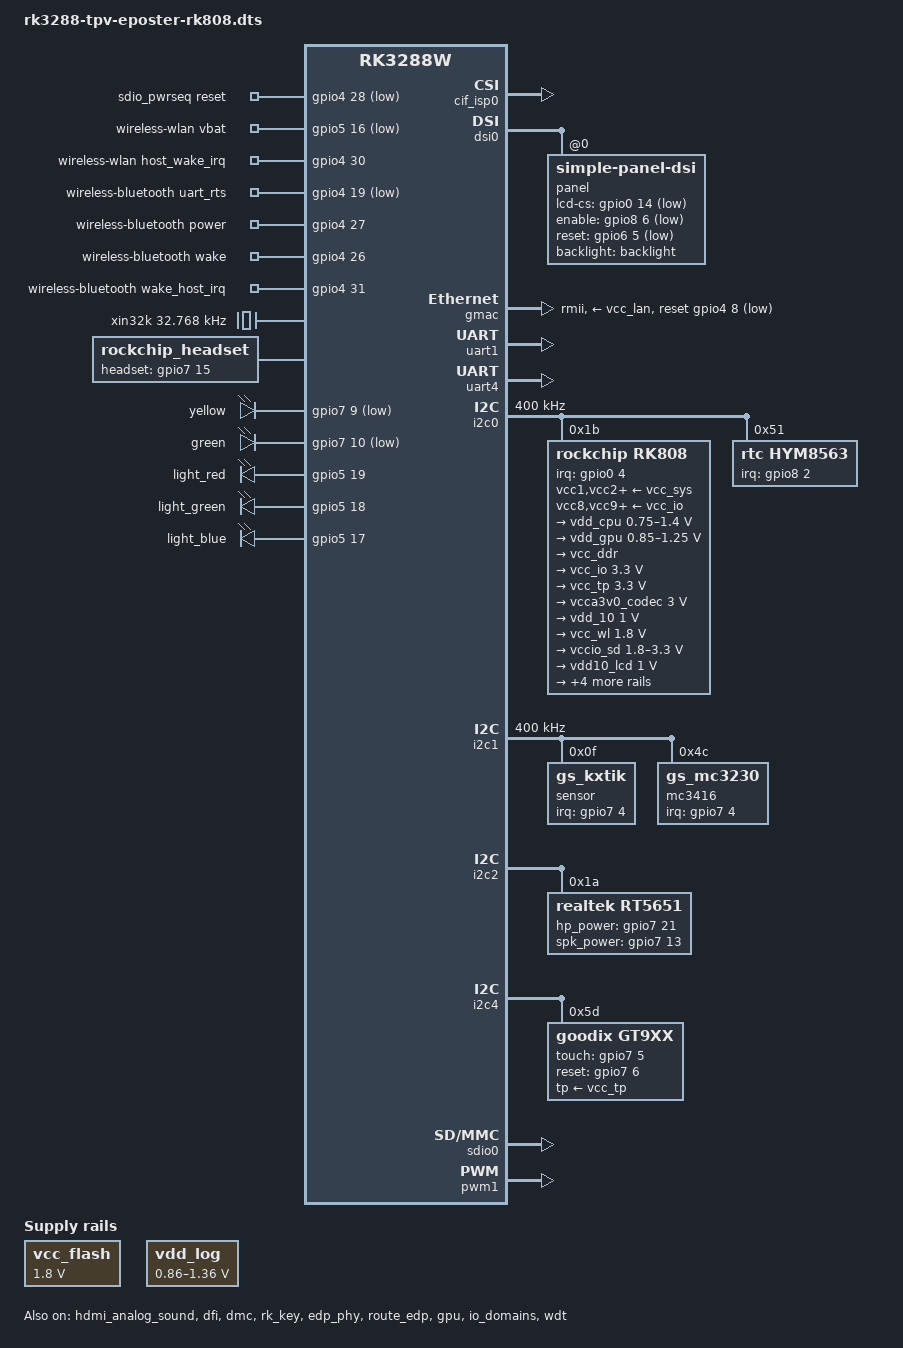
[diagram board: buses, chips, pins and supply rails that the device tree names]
/*
 * This file is dual-licensed: you can use it either under the terms
 * of the GPL or the X11 license, at your option. Note that this dual
 * licensing only applies to this file, and not this project as a
 * whole.
 *
 *  a) This file is free software; you can redistribute it and/or
 *     modify it under the terms of the GNU General Public License as
 *     published by the Free Software Foundation; either version 2 of the
 *     License, or (at your option) any later version.
 *
 *     This file is distributed in the hope that it will be useful,
 *     but WITHOUT ANY WARRANTY; without even the implied warranty of
 *     MERCHANTABILITY or FITNESS FOR A PARTICULAR PURPOSE.  See the
 *     GNU General Public License for more details.
 *
 * Or, alternatively,
 *
 *  b) Permission is hereby granted, free of charge, to any person
 *     obtaining a copy of this software and associated documentation
 *     files (the "Software"), to deal in the Software without
 *     restriction, including without limitation the rights to use,
 *     copy, modify, merge, publish, distribute, sublicense, and/or
 *     sell copies of the Software, and to permit persons to whom the
 *     Software is furnished to do so, subject to the following
 *     conditions:
 *
 *     The above copyright notice and this permission notice shall be
 *     included in all copies or substantial portions of the Software.
 *
 *     THE SOFTWARE IS PROVIDED "AS IS", WITHOUT WARRANTY OF ANY KIND,
 *     EXPRESS OR IMPLIED, INCLUDING BUT NOT LIMITED TO THE WARRANTIES
 *     OF MERCHANTABILITY, FITNESS FOR A PARTICULAR PURPOSE AND
 *     NONINFRINGEMENT. IN NO EVENT SHALL THE AUTHORS OR COPYRIGHT
 *     HOLDERS BE LIABLE FOR ANY CLAIM, DAMAGES OR OTHER LIABILITY,
 *     WHETHER IN AN ACTION OF CONTRACT, TORT OR OTHERWISE, ARISING
 *     FROM, OUT OF OR IN CONNECTION WITH THE SOFTWARE OR THE USE OR
 *     OTHER DEALINGS IN THE SOFTWARE.
 */

/dts-v1/;
#include "rk3288-evb.dtsi"
#include "rk3288-android.dtsi"
#include <dt-bindings/sensor-dev.h>

/ {
	compatible = "rockchip,rk3288-tpv-eposter-rk808", "rockchip,rk3288w";

	sdio_pwrseq: sdio-pwrseq {
		status = "okay";
		compatible = "mmc-pwrseq-simple";
		clocks = <&rk808 1>;
		clock-names = "ext_clock";
		pinctrl-names = "default";
		pinctrl-0 = <&wifi_enable_h>;

		/*
		 * On the module itself this is one of these (depending
		 * on the actual card populated):
		 * - SDIO_RESET_L_WL_REG_ON
		 * - PDN (power down when low)
		 */
		reset-gpios = <&gpio4 28 GPIO_ACTIVE_LOW>;
	};

	vcc_flash: vcc-flash {
		compatible = "regulator-fixed";
		regulator-name = "vcc_flash";
		regulator-always-on;
		regulator-boot-on;
		regulator-min-microvolt = <1800000>;
		regulator-max-microvolt = <1800000>;
	};

	/*
	vcc_wifi: vcc-wifi-regulator {
		compatible = "regulator-fixed";
		//enable-active-high;
		gpio = <&gpio5 16 GPIO_ACTIVE_LOW>;
		pinctrl-names = "default";
		pinctrl-0 = <&wl_en>;
		regulator-name = "vcc_wifi";
		regulator-min-microvolt = <3300000>;
		regulator-max-microvolt = <3300000>;
		regulator-always-on;
		regulator-boot-on;
	};
	*/
	wireless-wlan {
		compatible = "wlan-platdata";
		rockchip,grf = <&grf>;
		wifi_chip_type = "ap6256";
		sdio_vref =<1800>;
		WIFI,vbat_gpio = <&gpio5 16 GPIO_ACTIVE_LOW>; 
		WIFI,host_wake_irq = <&gpio4 30 GPIO_ACTIVE_HIGH>;
		status = "okay";
	};

	wireless-bluetooth {
		compatible = "bluetooth-platdata";
		clocks = <&rk808 1>;
		clock-names = "ext_clock";
		/* wifi-bt-power-toggle; */
		uart_rts_gpios = <&gpio4 19 GPIO_ACTIVE_LOW>;
		pinctrl-names = "default", "rts_gpio";
		pinctrl-0 = <&uart0_rts>,<&bt_wake>;
		pinctrl-1 = <&uart0_gpios>;
		BT,power_gpio  = <&gpio4 27 GPIO_ACTIVE_HIGH>; 
		//BT,reset_gpio    = <&gpio3 5 GPIO_ACTIVE_HIGH>;
		BT,wake_gpio     = <&gpio4 26 GPIO_ACTIVE_HIGH>;
		BT,wake_host_irq = <&gpio4 31 GPIO_ACTIVE_HIGH>;
		status = "okay";
	};


	/delete-node/ sdmmc-regulator;

	vdd_log: vdd-logic {
		compatible = "pwm-regulator";
		rockchip,pwm_id = <1>;
		rockchip,pwm_voltage = <1100000>;
		pwms = <&pwm1 0 25000 1>;
		regulator-name = "vcc_log";
		regulator-min-microvolt = <860000>;
		regulator-max-microvolt = <1360000>;
		regulator-always-on;
		regulator-boot-on;
	};

	xin32k: xin32k {
		compatible = "fixed-clock";
		clock-frequency = <32768>;
		clock-output-names = "xin32k";
		#clock-cells = <0>;
	};

	rockchip_headset {
		status = "okay";
		compatible = "rockchip_headset";
		headset_gpio = <&gpio7 15 GPIO_ACTIVE_HIGH>;
		//io-channels = <&saradc 2>;
		pinctrl-names = "default";
		pinctrl-0 = <&headset_det>;
	};

	gpio-leds {
		compatible = "gpio-leds";
		pinctrl-names = "default";
		pinctrl-0 =<&leds_gpio>;

		led-yellow {
			gpios = <&gpio7 9 GPIO_ACTIVE_LOW>;
			label = "yellow";
			retain-state-suspended;
			default-state = "on";
			linux,default-trigger = "none";
			status = "okay";
		};

		led-green {
			gpios = <&gpio7 10 GPIO_ACTIVE_LOW>;
			label = "green";
			default-state = "on";
			linux,default-trigger = "none";
			status = "okay";
		};

		slight_r {			
			gpios = <&gpio5 19 GPIO_ACTIVE_HIGH>;
			label = "light_red";
			retain-state-suspended;
			default-state = "off";
			linux,default-trigger = "none";
			status = "okay";

		};


		slight_g {			
			gpios = <&gpio5 18 GPIO_ACTIVE_HIGH>;
			label = "light_green";
			retain-state-suspended;
			default-state = "off";
			linux,default-trigger = "none";
			status = "okay";

		};

		slight_b {			
			gpios = <&gpio5 17 GPIO_ACTIVE_HIGH>;
			label = "light_blue";
			retain-state-suspended;
			default-state = "off";
			linux,default-trigger = "none";
			status = "okay";

		};
	};
};

&hdmi_analog_sound {
	status = "okay";
	rockchip,model = "realtek,rt5651-codec";
	rockchip,codec = <&rt5651>, <&hdmi>;
};

&cpu0 {
	cpu-supply = <&vdd_cpu>;
};

&cif_isp0 {
	status = "okay";
};

&dfi {
	status = "okay";
};

&dmc {
	center-supply = <&vdd_log>;
	status = "okay";
};

&rk_key {
		compatible = "rockchip,key";
		status = "okay";

		io-channels = <&saradc 1>;

		vol-up-key {
			linux,code = <115>;
			label = "volume up";
			rockchip,adc_value = <1>;
		};

		vol-down-key {
			linux,code = <114>;
			label = "volume down";
			rockchip,adc_value = <170>;
		};
		/*
		power-key {
			gpios = <&gpio5 13 GPIO_ACTIVE_LOW>;
			linux,code = <116>;
			pinctrl-names = "default";
			pinctrl-0 = <&pwrbtn>;
			label = "power";
			gpio-key,wakeup;
		};
		*/
		reset-key {
			gpios = <&gpio7 7 GPIO_ACTIVE_LOW>;
			linux,code = <249>;
			pinctrl-names = "default";
			pinctrl-0 = <&rstbtn>;
			label = "reset";
			gpio-key;
		};

		menu-key {
			gpios = <&gpio5 13 GPIO_ACTIVE_LOW>;
			linux,code = <59>;
			pinctrl-names = "default";
			pinctrl-0 = <&menubtn>;
			label = "menu";
			gpio-key;
		};

/*		home-key {
			linux,code = <102>;
			label = "home";
			rockchip,adc_value = <746>;
		};

		back-key {
			linux,code = <158>;
			label = "back";
			rockchip,adc_value = <560>;
		};

		camera-key {
			linux,code = <212>;
			label = "camera";
			rockchip,adc_value = <450>;
		};
*/
	};

&edp {
	status = "disabled";
};

/*&edp_panel {
	compatible = "simple-panel";
	backlight = <&backlight>;
	enable-gpios = <&gpio7 4 GPIO_ACTIVE_HIGH>;
	enable-delay-ms = <120>;
	pinctrl-0 = <&lcd_cs>;
	power-supply = <&vcc_io>;
	status = "disabled";

	disp_timings: display-timings {
		native-mode = <&timing0>;

		timing0: timing0 {
			clock-frequency = <200000000>;
			hactive = <1536>;
			vactive = <2048>;
			hfront-porch = <12>;
			hsync-len = <16>;
			hback-porch = <48>;
			vfront-porch = <8>;
			vsync-len = <4>;
			vback-porch = <8>;
			hsync-active = <0>;
			vsync-active = <0>;
			de-active = <0>;
			pixelclk-active = <0>;
		};
	};
};
*/
&dsi0 {
	status = "okay";
	//rockchip,lane-rate = <900>;

	panel: panel@0  {
		compatible = "simple-panel-dsi";
		reg = <0>;
		backlight = <&backlight>; 
		lcd-cs-gpios = <&gpio0 14 GPIO_ACTIVE_LOW>;
		//power-supply = <&vcc_io>;
		cs-gpios = <&gpio8 7 GPIO_ACTIVE_HIGH>; 
		enable-gpios = <&gpio8 6 GPIO_ACTIVE_LOW>;
		reset-gpios = <&gpio6 5 GPIO_ACTIVE_LOW>;
		dsi,flags = <(MIPI_DSI_MODE_VIDEO | MIPI_DSI_MODE_VIDEO_BURST | MIPI_DSI_MODE_LPM | MIPI_DSI_MODE_EOT_PACKET)>;
		dsi,format = <MIPI_DSI_FMT_RGB888>;
		dsi,lanes = <4>;
		reset-delay-ms = <20>;
		init-delay-ms = <120>;
		enable-delay-ms = <120>;
		prepare-delay-ms = <20>;
		unprepare-delay-ms = <120>;
		disable-delay-ms = <120>;
		pinctrl-names = "default";
		pinctrl-0 = <&dsi_drv>;
		status = "okay";

		//DCS Packet
		panel-init-sequence = [
			//Page 0
			15 00 02 E0 00
			//--- PASSWORD  ----//
			15 00 02 E1 93
			15 00 02 E2 65
			15 00 02 E3 F8
			15 00 02 80 03
			//--- Page1  ----//
			15 00 02 E0 01
			//Set VCOM
			15 00 02 01 67
			//Set Gamma Power, VGMP,VGMN,VGSP,VGSN
			15 00 02 17 00
			15 00 02 18 BF//4.5V, D7=4.8V
			15 00 02 19 01//0.0V
			15 00 02 1A 00
			15 00 02 1B BF
			15 00 02 1C 01
			15 00 02 0C 74			                
			//Set Gate Power
			15 00 02 1F 70	//VGH_REG=16.2V
			15 00 02 20 2D	//VGL_REG=-12V
			15 00 02 21 2D	//VGL_REG2=-12V
			15 00 02 22 7E
			15 00 02 0C 74	
			15 00 02 35 28	//SAP
			15 00 02 37 19	//SS=1,BGR=1
			//SET RGBCYC
			15 00 02 38 05	//JDT=101 zigzag inversion
			15 00 02 39 00
			15 00 02 3A 01
			15 00 02 3C 7C	//SET EQ3 for TE_H
			15 00 02 3D FF	//SET CHGEN_ON, modify 20140806 
			15 00 02 3E FF	//SET CHGEN_OFF, modify 20140806 
			15 00 02 3F 7F	//SET CHGEN_OFF2, modify 20140806
			//Set TCON
			15 00 02 40 06	//RSO=
			15 00 02 41 A0	//LN=640->1280 line
			15 00 02 43 1E	//VFP=30
			15 00 02 44 0B	//VBP=12
			15 00 02 45 28  //HBP=40
			//--- power voltage  ----//
			15 00 02 55 01	
			15 00 02 57 A9
			//15 00 02 58 0A
			15 00 02 59 0A	//VCL = -2.5V
			15 00 02 5A 2E	//VGH = 16.2V
			15 00 02 5B 1A	//VGL = -12V
			15 00 02 5C 15	//pump clk
			//--- Gamma  ----//
			15 00 02 5D 7F
			15 00 02 5E 64
			15 00 02 5F 53
			15 00 02 60 47
			15 00 02 61 43
			15 00 02 62 33
			15 00 02 63 37
			15 00 02 64 21
			15 00 02 65 39
			15 00 02 66 37
			15 00 02 67 34
			15 00 02 68 50
			15 00 02 69 3D
			15 00 02 6A 44
			15 00 02 6B 36
			15 00 02 6C 34
			15 00 02 6D 25
			15 00 02 6E 15
			15 00 02 6F 02
			15 00 02 70 7F
			15 00 02 71 64
			15 00 02 72 53
			15 00 02 73 47
			15 00 02 74 43
			15 00 02 75 33
			15 00 02 76 37
			15 00 02 77 21
			15 00 02 78 39
			15 00 02 79 37
			15 00 02 7A 34
			15 00 02 7B 50
			15 00 02 7C 3D
			15 00 02 7D 44
			15 00 02 7E 36
			15 00 02 7F 34
			15 00 02 80 25
			15 00 02 81 15
			15 00 02 82 02
			//Page2, for GIP
			15 00 02 E0 02
			//GIP_L Pin mapping
			15 00 02 00 52 //RESET_EVEN
			15 00 02 01 55 //VSSG_EVEN 
			15 00 02 02 55 //VSSG_EVEN 
			15 00 02 03 50 //STV2_ODD  
			15 00 02 04 77 //VDD2_ODD  
			15 00 02 05 57 //VDD1_ODD  
			15 00 02 06 55 //x         
			15 00 02 07 4E //CK11      
			15 00 02 08 4C //CK9       
			15 00 02 09 5F //x         
			15 00 02 0A 4A //CK7       
			15 00 02 0B 48 //CK5       
			15 00 02 0C 55 //x         
			15 00 02 0D 46 //CK3       
			15 00 02 0E 44 //CK1       
			15 00 02 0F 40 //STV1_ODD  
			15 00 02 10 55 //x         
			15 00 02 11 55 //x         
			15 00 02 12 55 //x         
			15 00 02 13 55 //x         
			15 00 02 14 55 //x         
			15 00 02 15 55 //x         
			//GIP_R Pin mapping
			15 00 02 16 53 //RESET__EVEN
			15 00 02 17 55 //VSSG_EVEN  
			15 00 02 18 55 //VSSG_EVEN  
			15 00 02 19 51 //STV2_EVEN  
			15 00 02 1A 77 //VDD2_EVEN  
			15 00 02 1B 57 //VDD1_EVEN  
			15 00 02 1C 55 //x          
			15 00 02 1D 4F //CK12       
			15 00 02 1E 4D //CK10       
			15 00 02 1F 5F //x          
			15 00 02 20 4B //CK8        
			15 00 02 21 49 //CK6        
			15 00 02 22 55 //x          
			15 00 02 23 47 //CK4        
			15 00 02 24 45 //CK2        
			15 00 02 25 41 //STV1_EVEN  
			15 00 02 26 55 //x          
			15 00 02 27 55 //x          
			15 00 02 28 55 //x          
			15 00 02 29 55 //x          
			15 00 02 2A 55 //x          
			15 00 02 2B 55 //x          
			//GIP_L_GS Pin mapping
			15 00 02 2C 13 //RESET_EVEN     
			15 00 02 2D 15 //VSSG_EVEN         
			15 00 02 2E 15 //VSSG_EVEN       
			15 00 02 2F 01 //STV2_ODD        
			15 00 02 30 37 //VDD2_ODD        
			15 00 02 31 17 //VDD1_ODD        
			15 00 02 32 15 //x               
			15 00 02 33 0D //CK11            
			15 00 02 34 0F //CK9             
			15 00 02 35 15 //x               
			15 00 02 36 05 //CK7             
			15 00 02 37 07 //CK5             
			15 00 02 38 15 //x               
			15 00 02 39 09 //CK3             
			15 00 02 3A 0B //CK1             
			15 00 02 3B 11 //STV1_ODD        
			15 00 02 3C 15 //x               
			15 00 02 3D 15 //x               
			15 00 02 3E 15 //x               
			15 00 02 3F 15 //x               
			15 00 02 40 15 //x               
			15 00 02 41 15 //x              			                                       
			//GIP_R_GS Pin mapping                 
			15 00 02 42 12 //RESET__EVEN    
			15 00 02 43 15 //VSSG_EVEN         
			15 00 02 44 15 //VSSG_EVEN       
			15 00 02 45 00 //STV2_EVEN       
			15 00 02 46 37 //VDD2_EVEN       
			15 00 02 47 17 //VDD1_EVEN       
			15 00 02 48 15 //x               
			15 00 02 49 0C //CK12            
			15 00 02 4A 0E //CK10            
			15 00 02 4B 15 //x               
			15 00 02 4C 04 //CK8             
			15 00 02 4D 06 //CK6             
			15 00 02 4E 15 //x               
			15 00 02 4F 08 //CK4             
			15 00 02 50 0A //CK2              
			15 00 02 51 10 //STV1_EVEN       
			15 00 02 52 15 //x               
			15 00 02 53 15 //x               
			15 00 02 54 15 //x               
			15 00 02 55 15 //x               
			15 00 02 56 15 //x               
			15 00 02 57 15 //x               
			//GIP Timing  
			15 00 02 58 40
			15 00 02 5B 10 
			15 00 02 5C 06 //STV_S0 
			15 00 02 5D 40
			15 00 02 5E 00 
			15 00 02 5F 00 
			15 00 02 60 40 //ETV_W 
			15 00 02 61 03 
			15 00 02 62 04 
			15 00 02 63 6C //CKV_ON 
			15 00 02 64 6C //CKV_OFF 
			15 00 02 65 75 
			15 00 02 66 08 //ETV_S0 
			15 00 02 67 B4 //ckv_num/ckv_w
			15 00 02 68 08 //CKV_S0
			15 00 02 69 6C //CKV_ON
			15 00 02 6A 6C //CKV_OFF 
			15 00 02 6B 0C //dummy
			15 00 02 6D 00 //GGND1 
			15 00 02 6E 00 //GGND2 
			15 00 02 6F 88 			 
			15 00 02 75 BB //FLM_EN 
			15 00 02 76 00 
			15 00 02 77 05
			15 00 02 78 2A //FLM_OFF 
			//Page4
			15 00 02 E0 04
			15 00 02 09 11
			15 00 02 0E 48	//Source EQ option
			15 00 02 2B 2B
			15 00 02 2D 03 //defult 01
			15 00 02 2E 44
			//Page5
			15 00 02 E0 05
			15 00 02 12 72//VCI GAS detect voltage
			//Page0
			15 00 02 E0 00
			15 00 02 E6 02 //WD_Timer
			15 00 02 E7 0C //WD_Timer
			05 00 01 11
			05 78 01 29
		];
        panel-init-sequence-second = [
			 39 00 04 FF 98 81 03 

			 15 00 02 01 00 
			 15 00 02 02 00 
			 15 00 02 03 53     
			 15 00 02 04 53    
			 15 00 02 05 13 
			 15 00 02 06 04 
			 15 00 02 07 02 
			 15 00 02 08 02 
			 15 00 02 09 00 
			 15 00 02 0a 00 
			 15 00 02 0b 00 
			 15 00 02 0c 00 
			 15 00 02 0d 00 
			 15 00 02 0e 00 
			 15 00 02 0f 00 
			 15 00 02 10 00 
			 15 00 02 11 00 
			 15 00 02 12 00 
			 15 00 02 13 00 
			 15 00 02 14 00 

			 15 00 02 15 05   //gpm
			 15 00 02 16 05   //gpm

			 15 00 02 17 03   //gpm
			 15 00 02 18 03   //gpm


			 15 00 02 19 00 
			 15 00 02 1a 00 
			 15 00 02 1b 00 
			 15 00 02 1c 00 
			 15 00 02 1d 00 
			 15 00 02 1e c0 
			 15 00 02 1f 00 
			 15 00 02 20 02 
			 15 00 02 21 09 
			 15 00 02 22 00 
			 15 00 02 23 00 
			 15 00 02 24 00 
			 15 00 02 25 00 
			 15 00 02 26 00 
			 15 00 02 27 00 
			 15 00 02 28 55 
			 15 00 02 29 03 
			 15 00 02 2a 00 
			 15 00 02 2b 00 
			 15 00 02 2c 00 
			 15 00 02 2d 00 
			 15 00 02 2e 00 
			 15 00 02 2f 00 
			 15 00 02 30 00 
			 15 00 02 31 00 
			 15 00 02 32 00 
			 15 00 02 33 00 
			 15 00 02 34 00 
			 15 00 02 35 00 
			 15 00 02 36 00 
			 15 00 02 37 00 
			 15 00 02 38 3C 
			 15 00 02 39 00 
			 15 00 02 3a 00 
			 15 00 02 3b 00 
			 15 00 02 3c 00 
			 15 00 02 3d 00 
			 15 00 02 3e 00 
			 15 00 02 3f 00 
			 15 00 02 40 00 
			 15 00 02 41 00 
			 15 00 02 42 00 
			 15 00 02 43 00 
			 15 00 02 44 00 


			 15 00 02 50 01 
			 15 00 02 51 23 
			 15 00 02 52 45 
			 15 00 02 53 67 
			 15 00 02 54 89 
			 15 00 02 55 ab 
			 15 00 02 56 01 
			 15 00 02 57 23 
			 15 00 02 58 45 
			 15 00 02 59 67 
			 15 00 02 5a 89 
			 15 00 02 5b ab 
			 15 00 02 5c cd 
			 15 00 02 5d ef 

			 15 00 02 5e 01 
			 15 00 02 5f 0A      //FW_CGOUT_L[1] RESE_ODD
			 15 00 02 60 02      //FW_CGOUT_L[2] VSSG_ODD
			 15 00 02 61 02      //FW_CGOUT_L[3] VSSG_ODD
			 15 00 02 62 08      //FW_CGOUT_L[4] STV2_ODD
			 15 00 02 63 15      //FW_CGOUT_L[5] VDD2_ODD
			 15 00 02 64 14      //FW_CGOUT_L[6] VDD1_ODD
			 15 00 02 65 02      //FW_CGOUT_L[7]
			 15 00 02 66 11      //FW_CGOUT_L[8] CK11
			 15 00 02 67 10      //FW_CGOUT_L[9] CK9
			 15 00 02 68 02      //FW_CGOUT_L[10]
			 15 00 02 69 0F      //FW_CGOUT_L[11] CK7
			 15 00 02 6a 0E      //FW_CGOUT_L[12] CK5
			 15 00 02 6b 02      //FW_CGOUT_L[13]   
			 15 00 02 6c 0D      //FW_CGOUT_L[14] CK3  
			 15 00 02 6d 0C      //FW_CGOUT_L[15] CK1  
			 15 00 02 6e 06      //FW_CGOUT_L[16] STV1_ODD  
			 15 00 02 6f 02      //FW_CGOUT_L[17]   
			 15 00 02 70 02      //FW_CGOUT_L[18]   
			 15 00 02 71 02      //FW_CGOUT_L[19]   
			 15 00 02 72 02      //FW_CGOUT_L[20]   
			 15 00 02 73 02      //FW_CGOUT_L[21]   
			 15 00 02 74 02      //FW_CGOUT_L[22] 
			  
			 15 00 02 75 0A      //BW_CGOUT_L[1]   RESE_ODD 
			 15 00 02 76 02      //BW_CGOUT_L[2]   VSSG_ODD 
			 15 00 02 77 02      //BW_CGOUT_L[3]   VSSG_ODD  
			 15 00 02 78 06      //BW_CGOUT_L[4]   STV2_ODD 
			 15 00 02 79 15      //BW_CGOUT_L[5]   VDD2_ODD 
			 15 00 02 7a 14      //BW_CGOUT_L[6]   VDD1_ODD 
			 15 00 02 7b 02      //BW_CGOUT_L[7]    
			 15 00 02 7c 10      //BW_CGOUT_L[8]   CK11 
			 15 00 02 7d 11      //BW_CGOUT_L[9]   CK9 
			 15 00 02 7e 02      //BW_CGOUT_L[10]   
			 15 00 02 7f 0C      //BW_CGOUT_L[11]  CK7
			 15 00 02 80 0D      //BW_CGOUT_L[12]  CK5 
			 15 00 02 81 02      //BW_CGOUT_L[13]   
			 15 00 02 82 0E      //BW_CGOUT_L[14]  CK3 
			 15 00 02 83 0F      //BW_CGOUT_L[15]  CK1 
			 15 00 02 84 08      //BW_CGOUT_L[16]  STV1_ODD 
			 15 00 02 85 02      //BW_CGOUT_L[17]   
			 15 00 02 86 02      //BW_CGOUT_L[18]   
			 15 00 02 87 02      //BW_CGOUT_L[19]   
			 15 00 02 88 02      //BW_CGOUT_L[20]   
			 15 00 02 89 02      //BW_CGOUT_L[21]   
			 15 00 02 8A 02      //BW_CGOUT_L[22]   


			 39 00 04 FF 98 81 04 

			// 15 00 2 3B C0      // ILI4003D sel 
			 15 00 02 6C 15 

			 15 00 02 6E 30      //VGH 16V   vgh Clamp level
			 15 00 02 6F 35      //37 Pump ratio VGH=VSPX3 VGL=VSNX3
			 15 00 02 8D 1F    // VGL clamp -12.03    LCD SPEC -12

			 15 00 02 3A 24      //power saving
			 15 00 02 35 1F     // Source OP drive time


			 15 00 02 87 BA 
			 15 00 02 26 76 
			 15 00 02 B2 D1 
			 15 00 02 B5 07 
			 15 00 02 88 0B 
			 15 00 02 21 30 


			 39 00 04 FF 98 81 01 
			 15 00 02 22 0A 
			 15 00 02 31 09    //zig-zag type1 09
			 15 00 02 40 33    //for ext_cpck_sel
			 15 00 02 42 44    //VGHL-CLK-SELA   VGHL-CLK-SELB
			 15 00 02 53 2E   // FW VCOM
			 15 00 02 55 88   // BW VCOM
			 15 00 02 50 95     //Source 4.5, 95    AE 4.8
			 15 00 02 51 95     //Source -4.5 95    AE -4.8
			 15 00 02 60 09   //20200604  43
			 15 00 02 2E C8 
			 15 00 02 35 07 

			 15 00 02 A0 0F 	
			 15 00 02 A1 1D 	
			 15 00 02 A2 2A 	
			 15 00 02 A3 14 	
			 15 00 02 A4 16 	
			 15 00 02 A5 29 	
			 15 00 02 A6 1D 	
			 15 00 02 A7 1E 	
			 15 00 02 A8 83 	
			 15 00 02 A9 1E 	
			 15 00 02 AA 2B 	
			 15 00 02 AB 6F 	
			 15 00 02 AC 18 	
			 15 00 02 AD 17 	
			 15 00 02 AE 4C 	
			 15 00 02 AF 22 	
			 15 00 02 B0 27 	
			 15 00 02 B1 4D 	
			 15 00 02 B2 5C 	
			 15 00 02 B3 2B 	

			 15 00 02 C0 0F 	
			 15 00 02 C1 1D 	
			 15 00 02 C2 2A 	
			 15 00 02 C3 14 	
			 15 00 02 C4 16 	
			 15 00 02 C5 29 	
			 15 00 02 C6 1D 	
			 15 00 02 C7 1E 	
			 15 00 02 C8 83 	
			 15 00 02 C9 1E 	
			 15 00 02 CA 2B 	
			 15 00 02 CB 6F 	
			 15 00 02 CC 18 	
			 15 00 02 CD 17 	
			 15 00 02 CE 4C 	
			 15 00 02 CF 22 	
			 15 00 02 D0 27 	
			 15 00 02 D1 4D 	
			 15 00 02 D2 5C 	
			 15 00 02 D3 2B 	


			 39 00 04 FF 98 81 00 
			 15 00 02 35 00                //TE OUT
			 05 78 01 11
			 05 14 01 29
        ];
		panel-exit-sequence = [
			05 05 01 28
			05 78 01 10
		];

	disp_timings: display-timings {
			native-mode = <&timing0>;

			timing0: timing0 {
				clock-frequency = <72000000>;
				hactive = <800>;
				vactive = <1280>;
				hback-porch = <20>;
				hfront-porch = <62>;
				vback-porch = <8>;
				vfront-porch = <30>;
				hsync-len = <20>;
				vsync-len = <4>;
				hsync-active = <0>;
				vsync-active = <0>;
				de-active = <0>;
				pixelclk-active = <0>;
			};
		};
	};
};


&route_dsi0 {
	status = "disabled";
};

&gmac {
	phy-supply = <&vcc_lan>;
	phy-mode = "rmii";
	clock_in_out = "input";
	snps,reset-gpio = <&gpio4 8 0>;
	snps,reset-active-low;
	snps,reset-delays-us = <0 10000 50000>;
	assigned-clocks = <&cru SCLK_MAC>;
	assigned-clock-parents = <&ext_gmac>;
	pinctrl-names = "default";
	pinctrl-0 = <&rmii_pins>;
	tx_delay = <0x30>;
	rx_delay = <0x10>;
	max-speed = <100>;
	status = "okay";
};

&edp_phy {
	status = "okay";
};

&route_edp {
	status = "okay";
};

&gpu {
	status = "okay";
	mali-supply = <&vdd_gpu>;
};

&hdmi_analog_sound {
	status = "okay";
	rockchip,widgets =
		"Microphone", "Mic Jack",
		"Headphone", "Headphone Jack";
	rockchip,routing =
		"Mic Jack", "MICBIAS1",
		"IN1P", "Mic Jack",
		"Headphone Jack", "HPOL",
		"Headphone Jack", "HPOR";
};

&uart1 {
	status = "okay";
};

&uart4 {
	status = "okay";
};

&i2c0 {
	clock-frequency = <400000>;

	rk808: pmic@1b {
		compatible = "rockchip,rk808";
		reg = <0x1b>;
		interrupt-parent = <&gpio0>;
		interrupts = <4 IRQ_TYPE_LEVEL_LOW>;
		pinctrl-names = "default";
		pinctrl-0 = <&pmic_int &global_pwroff>;
		rockchip,system-power-controller;
		wakeup-source;
		#clock-cells = <1>;
		clock-output-names = "rk808-clkout1", "rk808-clkout2";

		vcc1-supply = <&vcc_sys>;
		vcc2-supply = <&vcc_sys>;
		vcc3-supply = <&vcc_sys>;
		vcc4-supply = <&vcc_sys>;
		vcc6-supply = <&vcc_sys>;
		vcc8-supply = <&vcc_io>;
		vcc9-supply = <&vcc_io>;
		vcc12-supply = <&vcc_io>;
		vddio-supply = <&vcc_io>;

		regulators {
			vdd_cpu: DCDC_REG1 {
				regulator-always-on;
				regulator-boot-on;
				regulator-min-microvolt = <750000>;
				regulator-max-microvolt = <1400000>;
				regulator-name = "vdd_arm";
				regulator-state-mem {
					regulator-off-in-suspend;
				};
			};

			vdd_gpu: DCDC_REG2 {
				regulator-always-on;
				regulator-boot-on;
				regulator-min-microvolt = <850000>;
				regulator-max-microvolt = <1250000>;
				regulator-name = "vdd_gpu";
				regulator-ramp-delay = <6000>;
				regulator-state-mem {
					regulator-off-in-suspend;
				};
			};

			vcc_ddr: DCDC_REG3 {
				regulator-always-on;
				regulator-boot-on;
				regulator-name = "vcc_ddr";
				regulator-state-mem {
					regulator-on-in-suspend;
				};
			};

			vcc_io: DCDC_REG4 {
				regulator-always-on;
				regulator-boot-on;
				regulator-min-microvolt = <3300000>;
				regulator-max-microvolt = <3300000>;
				regulator-name = "vcc_io";
				regulator-state-mem {
					regulator-on-in-suspend;
					regulator-suspend-microvolt = <3300000>;
				};
			};

			vcc_tp: LDO_REG1 {
				regulator-always-on;
				regulator-boot-on;
				regulator-min-microvolt = <3300000>;
				regulator-max-microvolt = <3300000>;
				regulator-name = "vcc_tp";
				regulator-state-mem {
					regulator-off-in-suspend;
				};
			};
			//Not used, empty.
			vcca3v0_codec: LDO_REG2 {
				regulator-always-on;
				regulator-boot-on;
				regulator-min-microvolt = <3000000>;
				regulator-max-microvolt = <3000000>;
				regulator-name = "vcca3v0_codec";
				regulator-state-mem {
					regulator-on-in-suspend;
					regulator-suspend-microvolt = <3000000>;
				};
			};

			vdd_10: LDO_REG3 {
				regulator-always-on;
				regulator-boot-on;
				regulator-min-microvolt = <1000000>;
				regulator-max-microvolt = <1000000>;
				regulator-name = "vdd_10";
				regulator-state-mem {
					regulator-on-in-suspend;
					regulator-suspend-microvolt = <1000000>;
				};
			};
			////////NOT USED.
			vcc_wl: LDO_REG4 {
				regulator-always-on;
				regulator-boot-on;
				regulator-min-microvolt = <1800000>;
				regulator-max-microvolt = <1800000>;
				regulator-name = "vcc_wl";
				regulator-state-mem {
					regulator-on-in-suspend;
				};
			};

			vccio_sd: LDO_REG5 {
				regulator-always-on;
				regulator-boot-on;
				regulator-min-microvolt = <1800000>;
				regulator-max-microvolt = <3300000>;
				regulator-name = "vccio_sd";
				regulator-state-mem {
					regulator-off-in-suspend;
				};
			};

			vdd10_lcd: LDO_REG6 {
				regulator-always-on;
				regulator-boot-on;
				regulator-min-microvolt = <1000000>;
				regulator-max-microvolt = <1000000>;
				regulator-name = "vdd10_lcd";
				regulator-state-mem {
					regulator-off-in-suspend;
				};
			};

			vcc_18: LDO_REG7 {
				regulator-always-on;
				regulator-boot-on;
				regulator-min-microvolt = <1800000>;
				regulator-max-microvolt = <1800000>;
				regulator-name = "vcc_18";
				regulator-state-mem {
					regulator-on-in-suspend;
					regulator-suspend-microvolt = <1800000>;
				};
			};

			vcc18_lcd: LDO_REG8 {
				regulator-always-on;
				regulator-boot-on;
				regulator-min-microvolt = <1800000>;
				regulator-max-microvolt = <1800000>;
				regulator-name = "vcc18_lcd";
				regulator-state-mem {
					regulator-off-in-suspend;
				};
			};

			vcc_sd: SWITCH_REG1 {
				regulator-always-on;
				regulator-boot-on;
				regulator-min-microvolt = <3300000>;
				regulator-max-microvolt = <3300000>;
				regulator-name = "vcc_sd";
				regulator-state-mem {
					regulator-off-in-suspend;
				};
			};

			vcc_lan: SWITCH_REG2 {
				regulator-always-on;
				regulator-boot-on;
				regulator-min-microvolt = <3300000>;
				regulator-max-microvolt = <3300000>;
				regulator-name = "vcc_lan";
				regulator-state-mem {
					regulator-off-in-suspend;
				};
			};
		};
	};

	hym8563: hym8563@51 {
		compatible = "rtc,hym8563";
		reg = <0x51>;

		irq_gpio = <&gpio8 2 IRQ_TYPE_EDGE_FALLING>;

		pinctrl-names = "default";
		pinctrl-0 = <&rtc_int>;

		#clock-cells = <0>;
	};

	CW2015@62 {
		status = "disabled";
		compatible = "cw201x";
		reg = <0x62>;
		bat_low_gpio = <&gpio0 7 GPIO_ACTIVE_LOW>;
		dc_det_gpio = <&gpio0 8 GPIO_ACTIVE_LOW>;
		chg_ok_gpio = <&gpio0 9 GPIO_ACTIVE_HIGH>;
		bat_config_info = <0x15 0x42 0x60 0x59 0x52 0x58 0x4D 0x48 0x48 0x44 0x44 0x46 0x49 0x48 0x32
			0x24 0x20 0x17 0x13 0x0F 0x19 0x3E 0x51 0x45 0x08 0x76 0x0B 0x85 0x0E 0x1C 0x2E 0x3E 0x4D 0x52 0x52
			0x57 0x3D 0x1B 0x6A 0x2D 0x25 0x43 0x52 0x87 0x8F 0x91 0x94 0x52 0x82 0x8C 0x92 0x96 0xFF 0x7B 0xBB
			0xCB 0x2F 0x7D 0x72 0xA5 0xB5 0xC1 0x46 0xAE>;
		is_dc_charge = <1>;
		is_usb_charge = <0>;
		monitor_sec = <5>;
		virtual_power = <0>;
		divider_res1 = <200>;
		divider_res2 = <200>;
	};
};

&i2c1 {
	status = "okay";
	clock-frequency = <400000>;

	// mpu6050@68 {
	// 	compatible = "invensense,mpu6050";
	// 	status = "disabled";
	// 	pinctrl-names = "default";
	// 	pinctrl-0 = <&mpu6050_irq_gpio>;
	// 	reg = <0x68>;
	// 	irq-gpio = <&gpio8 0 IRQ_TYPE_EDGE_RISING>;
	// 	mpu-int_config = <0x10>;
	// 	mpu-level_shifter = <0>;
	// 	mpu-orientation = <0 1 0 1 0 0 0 0 1>;
	// 	orientation-x= <0>;
	// 	orientation-y= <0>;
	// 	orientation-z= <1>;
	// 	support-hw-poweroff = <0>;
	// 	mpu-debug = <1>;
	// };

	ak8963:compass@0d{
		compatible = "mpu_ak8963";
		reg = <0x0d>;
		compass-bus = <0>;
		compass-adapt_num = <0>;
		compass-orientation = <1 0 0 0 1 0 0 0 1>;
		orientation-x= <0>;
		orientation-y= <0>;
		orientation-z= <1>;
		compass-debug = <1>;
		status = "disabled";
	};

	sensor@f {
		status = "okay";
		compatible = "gs_kxtik";
		reg = <0xf>;
		type = <SENSOR_TYPE_ACCEL>;		
		irq-gpio = <&gpio7 4 IRQ_TYPE_LEVEL_LOW>;
		irq_enable = <0>;
		poll_delay_ms = <30>;
		layout = <1>;
	};
	mc3416: mc3416@04c {
		status = "okay";
		compatible = "gs_mc3230";
		reg = <0x4c>;
		type = <SENSOR_TYPE_ACCEL>;
		irq-gpio = <&gpio7 4 IRQ_TYPE_LEVEL_LOW>;
		irq_enable = <0>;
		poll_delay_ms = <30>;
		layout = <5>;
	};
};

&i2c2 {

	rt5651: rt5651@1a {
		#sound-dai-cells = <0>;
		compatible = "realtek,rt5651";
		reg = <0x1a>;
		hp_power = <&gpio7 21 GPIO_ACTIVE_HIGH>;
		spk_power = <&gpio7 13 GPIO_ACTIVE_HIGH>;
		clocks = <&cru SCLK_I2S0_OUT>;
		clock-names = "mclk";
		pinctrl-names = "default";
		pinctrl-0 = <&i2s0_mclk>, <&rt5651_gpio>;
	};
};

&i2c4 {
	status = "okay";

	gt9xx: gt9xx@5d {
		compatible = "goodix,gt9xx";
		reg = <0x5d>;
		touch-gpio = <&gpio7 5 IRQ_TYPE_EDGE_RISING>;
		reset-gpio = <&gpio7 6 GPIO_ACTIVE_HIGH>;
		pinctrl-names = "default";
		pinctrl-0 = <&tp_drv>;
		max-x = <800>;
		max-y = <1280>;
		tp-size = <911>;
		tp-supply = <&vcc_tp>;
		status = "okay";
	};
};


&io_domains {
	status = "okay";
	audio-supply = <&vcc_18>;
	bb-supply = <&vcc_io>;
	dvp-supply = <&vcc_io>;
	flash0-supply = <&vcc_flash>;
	flash1-supply = <&vcc_lan>;
	gpio30-supply = <&vcc_io>;
	gpio1830 = <&vcc_io>;
	lcdc-supply = <&vcc_io>;
	sdcard-supply = <&vccio_sd>;
	wifi-supply = <&vcc_18>; //throught vccio_wl
};

&sdio0{

	status = "okay";	
};

&lvds_panel {
	power-supply = <&vcc_io>;
};

&rockchip_suspend {
	status = "okay";
	rockchip,pwm-regulator-config = <
	(0
	| PWM1_REGULATOR_EN
	)
	>;
};
&gsl3673{
	status = "disabled";
};
&pwm1 {
	status = "okay";
	pinctrl-names = "active";
	pinctrl-0 = <&pwm1_pin_pull_down>;
};

&pinctrl {
	// mpu6050 {
	// 	mpu6050_irq_gpio: mpu6050-irq-gpio {
	// 		rockchip,pins = <8 0 RK_FUNC_GPIO &pcfg_pull_none>;
	// 	};
	// };

	wl {
		wl_en: wl-en {
			rockchip,pins = <5 16 RK_FUNC_GPIO &pcfg_pull_none>;
		};
	};

	rt5651 {
		rt5651_gpio: rt5651-gpio {
			rockchip,pins =
				<7 13 RK_FUNC_GPIO &pcfg_pull_none>,
				<7 21 RK_FUNC_GPIO &pcfg_pull_none>;
		};
	};

	hym8563 {
		rtc_int: rtc-int {
			rockchip,pins = <8 2 RK_FUNC_GPIO &pcfg_pull_up>;
		};
	};

	buttons {
		/*
		pwrbtn: pwrbtn {
			rockchip,pins = <0 18 RK_FUNC_GPIO &pcfg_pull_up>;
		};
		*/

		rstbtn: rstbtn {
			rockchip,pins = <7 7 RK_FUNC_GPIO &pcfg_pull_up>;
		};

		menubtn: menubtn {
			rockchip,pins = <5 13 RK_FUNC_GPIO &pcfg_pull_up>;
		};
	};

	headset {
		headset_det: headset-det {
			rockchip,pins = <7 15 RK_FUNC_GPIO &pcfg_pull_none>;
		};
	};

	gpio-leds {
		leds_gpio: leds-gpio {
			rockchip,pins =
				<7 9 RK_FUNC_GPIO &pcfg_pull_none>,
				<7 10 RK_FUNC_GPIO &pcfg_pull_none>,
				<5 17 RK_FUNC_GPIO &pcfg_pull_down>,
				<5 18 RK_FUNC_GPIO &pcfg_pull_down>,
				<5 19 RK_FUNC_GPIO &pcfg_pull_down>;
		};
	};
	dsi_panel {
		dsi_drv: dsi-drv {
			rockchip,pins = <8 7 RK_FUNC_GPIO &pcfg_pull_none>,
							<8 6 RK_FUNC_GPIO &pcfg_pull_none>,
							<0 14 RK_FUNC_GPIO &pcfg_pull_none>;
		};
	};
	
	gt9xx {
		tp_drv: tp-drv {
			rockchip,pins = <7 5 RK_FUNC_GPIO &pcfg_pull_none>,
							<7 6 RK_FUNC_GPIO &pcfg_pull_none>;
		};
	};

	wireless-bluetooth {
		bt_wake: bt_wake {
			rockchip,pins = <4 31 RK_FUNC_GPIO &pcfg_pull_down>;
		};
	};
};


&uart1 {
	status = "okay";
};

&uart4 {
	status = "okay";
};

&wdt {
	status = "okay";
};

/*
&backlight {
	status = "disabled";
};
*/
//Martin@TPV 20190820 add aoc NEC remote control. USERCODE:0xbd00.
/*
&pwm0 {
	status = "okay";
	interrupts = <GIC_SPI 78 IRQ_TYPE_LEVEL_HIGH>;
	compatible = "rockchip,remotectl-pwm";
	remote_pwm_id = <0>;
	handle_cpu_id = <0>;

	ir_key1{
		rockchip,usercode = <0xbd00>;
		rockchip,key_table =
			<0xfe   KEY_POWER>,
			<0xf5   KEY_MENU>,
			<0xbb   KEY_BACK>,
			<0xae   KEY_HOME>,
			<0xf3   KEY_VOLUMEUP>,
			<0xef   KEY_VOLUMEDOWN>,
			<0xf4   KEY_UP>,
			<0xf0   KEY_DOWN>,
			<0xb6   KEY_LEFT>,
			<0xb5   KEY_RIGHT>,
			<0xf2   KEY_ENTER>,
			<0xf7   KEY_FN>,
			<0xf8   KEY_WWW>;
	};
};
*/


//Martin@TPV 20190820 add aoc RC6 remote control. 
/*
&pwm0{
	interrupts = <GIC_SPI 78 IRQ_TYPE_LEVEL_HIGH>;
	compatible = "rockchip,remotectl-pwm";
	remote_pwm_id = <0>;
	handle_cpu_id = <0>;
	status = "okay";
    pinctrl-names = "default";
    pinctrl-0 = <&pwm0_pin>;

	ir_key1{
		rockchip,protocol_rc6 = <0>;//default nec
		rockchip,usercode = <0xbd00>;
		rockchip,key_table =
			<0xfe   KEY_POWER>,
			<0xf5   KEY_MENU>,
			<0xbb   KEY_BACK>,
			<0xae   KEY_HOME>,
			<0xf3   KEY_VOLUMEUP>,
			<0xef   KEY_VOLUMEDOWN>,
			<0xf4   KEY_UP>,
			<0xf0   KEY_DOWN>,
			<0xb6   KEY_LEFT>,
			<0xb5   KEY_RIGHT>,
			<0xf2   KEY_ENTER>,
			<0xf7   KEY_FN>,
			<0xf8   KEY_WWW>;
	};
	ir_key2{
		rockchip,protocol_rc6 = <1>;//1 means rc6
		rockchip,usercode = <0x0000>;
		rockchip,key_table =
			<0x00   KEY_0>,
			<0x01   KEY_1>,
			<0x02   KEY_2>,
			<0x03   KEY_3>,
			<0x04   KEY_4>,
			<0x05   KEY_5>,
			<0x06   KEY_6>,
			<0x07   KEY_7>,
			<0x08   KEY_8>,
			<0x09   KEY_9>,
			<0x10   KEY_VOLUMEUP>,
			<0x11   KEY_VOLUMEDOWN>,
			<0x58   KEY_UP>,
			<0x59   KEY_DOWN>,
			<0x5a   KEY_LEFT>,
			<0x5b   KEY_RIGHT>,
			<0x5c   KEY_ENTER>,
			<0x0c   KEY_POWER>,
			<0x40   KEY_MENU>,
			<0x0a   KEY_BACK>,
			<0xbe   KEY_HOME>,
			<0x0d   KEY_MUTE>,

			<0x37   KEY_NEXTSONG>,
			<0x76   KEY_PREVIOUSSONG>,
			<0x33   KEY_STOPCD>,
			<0x28   KEY_FASTFORWARD>,
			<0x2b   KEY_REWIND>,
			<0x2c   KEY_PLAYPAUSE>,

			<0x0f   KEY_INFO>,
			<0xcc   KEY_SETUP>,
			<0x52   KEY_APPSELECT>,
			<0x51   KEY_HELP>;
	};
};
*/
